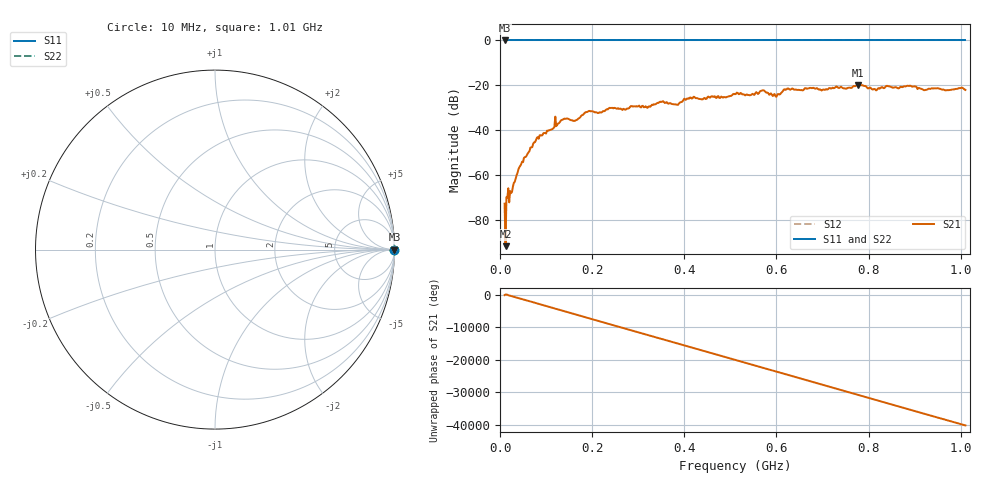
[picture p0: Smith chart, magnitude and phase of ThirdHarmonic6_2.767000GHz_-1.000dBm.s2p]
! 8/17/2025 7:01:09 AM
! C:\ANRITSUVNA\TEMP\TEMP.S2P
! CHANNEL.1
! TR.MEASUREMENT
! RAW.DATA
! RF.CORRECTION.OFF
! AVERAGING.OFF
! IF.BANDWIDTH: 5KHZ
! SWEEPTYPE:  FREQ.SWEEP(Linear)
! Reference Plane Port Info
! PORT:  PORT1  PORT2
! DISTANCE:  0  m  0  m
! TIME:  0  s  0  s
! PHASE.OFFSET:  0  deg.  0  deg.
! LOSS:  0  dB  0  dB
! REF.LOSS:  0  dB  0  dB
! REF.FREQ:  0  Hz  0  Hz
! Power Info
! POWER:  -20  dBm  -20  dBm
! EFF.POWER:  -20  dBm  -20  dBm
! SOURCE.ATTEN:  0  dB  0  dB
! TEST.ATTEN:  0  dB  0  dB
# GHZ S RI R 50.0
! FREQ.GHZ  S11RE  S11IM  S21RE  S21IM  S12RE  S12IM  S22RE  S22IM
!; PortSelection: Port_12
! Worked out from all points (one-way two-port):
!   501 points, 10 MHz to 1.01 GHz, reference 50 ohm
!   highest |S21| = -19.85 dB at 776 MHz (marker M1); lowest = -91.4 dB at 12 MHz (marker M2)
!   lowest |S11| = 0.0 dB at 10 MHz (marker M3)
!   |S11| at or under -10 dB: nowhere
!   |S22| runs from 0.0 to 0.0 dB; largest |S21 - S12| = 1.1
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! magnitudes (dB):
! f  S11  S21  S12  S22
! 10 MHz  0.0  -72.5  0.0  0.0
! 12 MHz  0.0  -91.4  0.0  0.0
! 18 MHz  0.0  -65.7  0.0  0.0
! 24 MHz  0.0  -67.9  0.0  0.0
! 44 MHz  0.0  -55.7  0.0  0.0
! 78 MHz  0.0  -44.4  0.0  0.0
! 136 MHz  0.0  -35.2  0.0  0.0
! 162 MHz  0.0  -35.8  0.0  0.0
! 178 MHz  0.0  -33.2  0.0  0.0
! 194 MHz  0.0  -31.3  0.0  0.0
! 344 MHz  0.0  -27.7  0.0  0.0
! 384 MHz  0.0  -28.5  0.0  0.0
! 410 MHz  0.0  -25.9  0.0  0.0
! 510 MHz  0.0  -23.9  0.0  0.0
! 570 MHz  0.0  -22.1  0.0  0.0
! 596 MHz  0.0  -23.8  0.0  0.0
! 622 MHz  0.0  -21.7  0.0  0.0
! 678 MHz  0.0  -21.2  0.0  0.0
! 776 MHz  0.0  -19.8  0.0  0.0
! 814 MHz  0.0  -21.7  0.0  0.0
! 844 MHz  0.0  -20.4  0.0  0.0
! 1.01 GHz  0.0  -22.0  0.0  0.0
